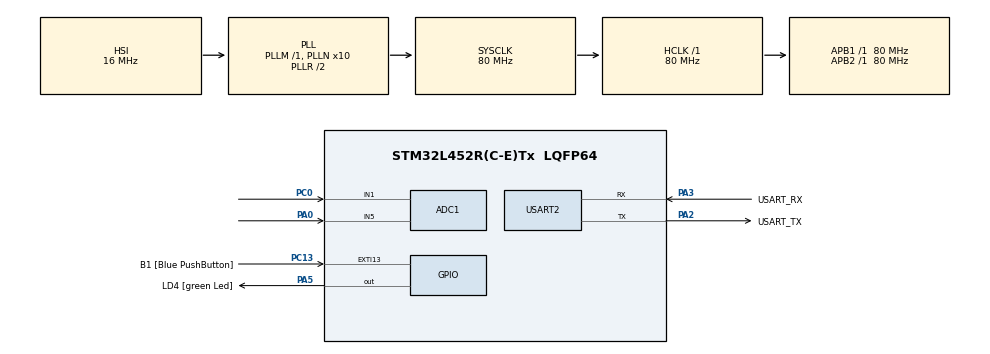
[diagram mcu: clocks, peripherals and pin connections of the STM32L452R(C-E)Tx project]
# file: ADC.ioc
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ADC1.Channel-0\#ChannelRegularConversion=ADC_CHANNEL_5
ADC1.ContinuousConvMode=DISABLE
ADC1.NbrOfConversion=1
ADC1.NbrOfConversionFlag=1
ADC1.OffsetNumber-0\#ChannelRegularConversion=ADC_OFFSET_NONE
ADC1.Rank-0\#ChannelRegularConversion=1
ADC1.SamplingTime-0\#ChannelRegularConversion=ADC_SAMPLETIME_2CYCLES_5
ADC1.master=1
Mcu.Family=STM32L4
Mcu.Name=STM32L452R(C-E)Tx
Mcu.Package=LQFP64
NVIC.PriorityGroup=NVIC_PRIORITYGROUP_4
PA0.Signal=ADCx_IN5
PA13\ (JTMS/SWDIO).GPIO_Label=TMS
PA13\ (JTMS/SWDIO).Mode=Serial_Wire
PA13\ (JTMS/SWDIO).Signal=SYS_JTMS-SWDIO
PA14\ (JTCK/SWCLK).GPIO_Label=TCK
PA14\ (JTCK/SWCLK).Mode=Serial_Wire
PA14\ (JTCK/SWCLK).Signal=SYS_JTCK-SWCLK
PA2.GPIO_Label=USART_TX
PA2.GPIO_Mode=GPIO_MODE_AF_PP
PA2.GPIO_PuPd=GPIO_NOPULL
PA2.GPIO_Speed=GPIO_SPEED_FREQ_VERY_HIGH
PA2.Mode=Asynchronous
PA2.Signal=USART2_TX
PA3.GPIO_Label=USART_RX
PA3.GPIO_Mode=GPIO_MODE_AF_PP
PA3.GPIO_PuPd=GPIO_NOPULL
PA3.GPIO_Speed=GPIO_SPEED_FREQ_VERY_HIGH
PA3.Mode=Asynchronous
PA3.Signal=USART2_RX
PA5.GPIO_Label=LD4 [green Led]
PA5.GPIO_ModeDefaultOutputPP=GPIO_MODE_OUTPUT_PP
PA5.GPIO_PuPd=GPIO_NOPULL
PA5.GPIO_Speed=GPIO_SPEED_FREQ_LOW
PA5.Signal=GPIO_Output
PB3\ (JTDO/TRACESWO).GPIO_Label=SWO
PB3\ (JTDO/TRACESWO).Signal=SYS_JTDO-SWO
PC0.Signal=ADCx_IN1
PC13.GPIO_Label=B1 [Blue PushButton]
PC13.GPIO_ModeDefaultEXTI=GPIO_MODE_IT_FALLING
PC13.GPIO_PuPd=GPIO_NOPULL
PC13.Signal=GPXTI13
PC14-OSC32_IN\ (PC14).Mode=LSE-External-Oscillator
PC14-OSC32_IN\ (PC14).Signal=RCC_OSC32_IN
PC15-OSC32_OUT\ (PC15).Mode=LSE-External-Oscillator
PC15-OSC32_OUT\ (PC15).Signal=RCC_OSC32_OUT
PH0-OSC_IN\ (PH0).Signal=RCC_OSC_IN
PH1-OSC_OUT\ (PH1).Signal=RCC_OSC_OUT
ProjectManager.HeapSize=0x200
ProjectManager.StackSize=0x400
ProjectManager.TargetToolchain=STM32CubeIDE
RCC.ADCFreq_Value=64000000
RCC.AHBFreq_Value=80000000
RCC.APB1Freq_Value=80000000
RCC.APB1TimFreq_Value=80000000
RCC.APB2Freq_Value=80000000
RCC.APB2TimFreq_Value=80000000
RCC.CortexFreq_Value=80000000
RCC.HCLKFreq_Value=80000000
RCC.HSE_VALUE=8000000
RCC.HSI48_VALUE=48000000
RCC.HSI_VALUE=16000000
RCC.MSI_VALUE=4000000
RCC.PLLN=10
RCC.PLLSourceVirtual=RCC_PLLSOURCE_HSI
RCC.PREFETCH_ENABLE=1
RCC.SYSCLKFreq_VALUE=80000000
RCC.SYSCLKSource=RCC_SYSCLKSOURCE_PLLCLK
RCC.USBFreq_Value=64000000
RCC.VCOOutputFreq_Value=160000000
SH.ADCx_IN1.0=ADC1_IN1,IN1-Single-Ended
SH.ADCx_IN5.0=ADC1_IN5,IN5-Single-Ended
USART2.VirtualMode-Asynchronous=VM_ASYNC
board=NUCLEO-L452RE

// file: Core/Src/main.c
/* USER CODE BEGIN Header */
/**
  ******************************************************************************
  * @file           : main.c
  * @brief          : Main program body
  ******************************************************************************
  * @attention
  *
  * Copyright (c) 2024 STMicroelectronics.
  * All rights reserved.
  *
  * This software is licensed under terms that can be found in the LICENSE file
  * in the root directory of this software component.
  * If no LICENSE file comes with this software, it is provided AS-IS.
  *
  ******************************************************************************
  */
/* USER CODE END Header */
#include "main.h"

/* USER CODE BEGIN Includes */
#include <stdio.h>
#include <string.h>
/* USER CODE END Includes */

ADC_HandleTypeDef hadc1;

UART_HandleTypeDef huart2;

void SystemClock_Config(void);
static void MX_GPIO_Init(void);
static void MX_USART2_UART_Init(void);
static void MX_ADC1_Init(void);

/* USER CODE BEGIN 0 */
uint16_t value1;
uint16_t value2;
uint16_t estado = 0;

char uart_msg[100];
void printValue(int value);
void print(char uart_buffer[]);

/* USER CODE END 0 */

int main(void)
{

  /* MCU Configuration--------------------------------------------------------*/

  /* Reset of all peripherals, Initializes the Flash interface and the Systick. */
  HAL_Init();

  /* Configure the system clock */
  SystemClock_Config();

  /* Initialize all configured peripherals */
  MX_GPIO_Init();
  MX_USART2_UART_Init();
  MX_ADC1_Init();
  /* USER CODE BEGIN 2 */
  HAL_ADC_Start(&hadc1);
  print("Inicialización");

  /* USER CODE END 2 */

  /* Infinite loop */
  /* USER CODE BEGIN WHILE */
  while (1)
  {
	  if(HAL_GPIO_ReadPin(B1_GPIO_Port, B1_Pin) == 1){
		  print("Canal 5");
		  ADC_Select_CH5();
		  HAL_ADC_Start(&hadc1);
		  HAL_ADC_PollForConversion(&hadc1, HAL_MAX_DELAY);
		  value1= HAL_ADC_GetValue(&hadc1);
		  printValue(value1);
		  HAL_ADC_Stop(&hadc1);
		  HAL_Delay(50);
	  }
	  else{
		  print("Canal 1");
		  ADC_Select_CH1();
		  HAL_ADC_Start(&hadc1);
		  HAL_ADC_PollForConversion(&hadc1, HAL_MAX_DELAY);
		  value2= HAL_ADC_GetValue(&hadc1);
		  printValue(value2);
		  HAL_ADC_Stop(&hadc1);
		  HAL_Delay(50);
	  }

    /* USER CODE END WHILE */

  }
}

void SystemClock_Config(void)
{
  RCC_OscInitTypeDef RCC_OscInitStruct = {0};
  RCC_ClkInitTypeDef RCC_ClkInitStruct = {0};

  /** Configure the main internal regulator output voltage
  */
  if (HAL_PWREx_ControlVoltageScaling(PWR_REGULATOR_VOLTAGE_SCALE1) != HAL_OK)
  {
    Error_Handler();
  }

  /** Initializes the RCC Oscillators according to the specified parameters
  * in the RCC_OscInitTypeDef structure.
  */
  RCC_OscInitStruct.OscillatorType = RCC_OSCILLATORTYPE_HSI;
  RCC_OscInitStruct.HSIState = RCC_HSI_ON;
  RCC_OscInitStruct.HSICalibrationValue = RCC_HSICALIBRATION_DEFAULT;
  RCC_OscInitStruct.PLL.PLLState = RCC_PLL_ON;
  RCC_OscInitStruct.PLL.PLLSource = RCC_PLLSOURCE_HSI;
  RCC_OscInitStruct.PLL.PLLM = 1;
  RCC_OscInitStruct.PLL.PLLN = 10;
  RCC_OscInitStruct.PLL.PLLP = RCC_PLLP_DIV7;
  RCC_OscInitStruct.PLL.PLLQ = RCC_PLLQ_DIV2;
  RCC_OscInitStruct.PLL.PLLR = RCC_PLLR_DIV2;
  if (HAL_RCC_OscConfig(&RCC_OscInitStruct) != HAL_OK)
  {
    Error_Handler();
  }

  /** Initializes the CPU, AHB and APB buses clocks
  */
  RCC_ClkInitStruct.ClockType = RCC_CLOCKTYPE_HCLK|RCC_CLOCKTYPE_SYSCLK
                              |RCC_CLOCKTYPE_PCLK1|RCC_CLOCKTYPE_PCLK2;
  RCC_ClkInitStruct.SYSCLKSource = RCC_SYSCLKSOURCE_PLLCLK;
  RCC_ClkInitStruct.AHBCLKDivider = RCC_SYSCLK_DIV1;
  RCC_ClkInitStruct.APB1CLKDivider = RCC_HCLK_DIV1;
  RCC_ClkInitStruct.APB2CLKDivider = RCC_HCLK_DIV1;

  if (HAL_RCC_ClockConfig(&RCC_ClkInitStruct, FLASH_LATENCY_4) != HAL_OK)
  {
    Error_Handler();
  }
}

static void MX_ADC1_Init(void)
{

  ADC_ChannelConfTypeDef sConfig = {0};

  /** Common config
  */
  hadc1.Instance = ADC1;
  hadc1.Init.ClockPrescaler = ADC_CLOCK_ASYNC_DIV1;
  hadc1.Init.Resolution = ADC_RESOLUTION_12B;
  hadc1.Init.DataAlign = ADC_DATAALIGN_RIGHT;
  hadc1.Init.ScanConvMode = ADC_SCAN_DISABLE;
  hadc1.Init.EOCSelection = ADC_EOC_SINGLE_CONV;
  hadc1.Init.LowPowerAutoWait = DISABLE;
  hadc1.Init.ContinuousConvMode = DISABLE;
  hadc1.Init.NbrOfConversion = 1;
  hadc1.Init.DiscontinuousConvMode = DISABLE;
  hadc1.Init.ExternalTrigConv = ADC_SOFTWARE_START;
  hadc1.Init.ExternalTrigConvEdge = ADC_EXTERNALTRIGCONVEDGE_NONE;
  hadc1.Init.DMAContinuousRequests = DISABLE;
  hadc1.Init.Overrun = ADC_OVR_DATA_PRESERVED;
  hadc1.Init.OversamplingMode = DISABLE;
  if (HAL_ADC_Init(&hadc1) != HAL_OK)
  {
    Error_Handler();
  }

  /** Configure Regular Channel
  */
  sConfig.Channel = ADC_CHANNEL_5;
  sConfig.Rank = ADC_REGULAR_RANK_1;
  sConfig.SamplingTime = ADC_SAMPLETIME_2CYCLES_5;
  sConfig.SingleDiff = ADC_SINGLE_ENDED;
  sConfig.OffsetNumber = ADC_OFFSET_NONE;
  sConfig.Offset = 0;
  if (HAL_ADC_ConfigChannel(&hadc1, &sConfig) != HAL_OK)
  {
    Error_Handler();
  }

}

static void MX_USART2_UART_Init(void)
{

  huart2.Instance = USART2;
  huart2.Init.BaudRate = 115200;
  huart2.Init.WordLength = UART_WORDLENGTH_8B;
  huart2.Init.StopBits = UART_STOPBITS_1;
  huart2.Init.Parity = UART_PARITY_NONE;
  huart2.Init.Mode = UART_MODE_TX_RX;
  huart2.Init.HwFlowCtl = UART_HWCONTROL_NONE;
  huart2.Init.OverSampling = UART_OVERSAMPLING_16;
  huart2.Init.OneBitSampling = UART_ONE_BIT_SAMPLE_DISABLE;
  huart2.AdvancedInit.AdvFeatureInit = UART_ADVFEATURE_NO_INIT;
  if (HAL_UART_Init(&huart2) != HAL_OK)
  {
    Error_Handler();
  }

}

static void MX_GPIO_Init(void)
{
  GPIO_InitTypeDef GPIO_InitStruct = {0};

  /* GPIO Ports Clock Enable */
  __HAL_RCC_GPIOC_CLK_ENABLE();
  __HAL_RCC_GPIOH_CLK_ENABLE();
  __HAL_RCC_GPIOA_CLK_ENABLE();
  __HAL_RCC_GPIOB_CLK_ENABLE();

  /*Configure GPIO pin Output Level */
  HAL_GPIO_WritePin(LD4_GPIO_Port, LD4_Pin, GPIO_PIN_RESET);

  /*Configure GPIO pin : B1_Pin */
  GPIO_InitStruct.Pin = B1_Pin;
  GPIO_InitStruct.Mode = GPIO_MODE_IT_FALLING;
  GPIO_InitStruct.Pull = GPIO_NOPULL;
  HAL_GPIO_Init(B1_GPIO_Port, &GPIO_InitStruct);

  /*Configure GPIO pin : LD4_Pin */
  GPIO_InitStruct.Pin = LD4_Pin;
  GPIO_InitStruct.Mode = GPIO_MODE_OUTPUT_PP;
  GPIO_InitStruct.Pull = GPIO_NOPULL;
  GPIO_InitStruct.Speed = GPIO_SPEED_FREQ_LOW;
  HAL_GPIO_Init(LD4_GPIO_Port, &GPIO_InitStruct);

}

/* USER CODE BEGIN 4 */

void print(char uart_buffer[]){
	sprintf(uart_msg, "%s: ", uart_buffer);
	HAL_UART_Transmit(&huart2,(uint8_t*)uart_msg,strlen(uart_msg),HAL_MAX_DELAY);

}

void printValue(int value){
	sprintf(uart_msg, "%hu \n\r", value);
	HAL_UART_Transmit(&huart2,(uint8_t*)uart_msg,strlen(uart_msg),HAL_MAX_DELAY);

}

void ADC_Select_CH5 (void)
{
	ADC_ChannelConfTypeDef sConfig = {0};
	  /** Configure for the selected ADC regular channel its corresponding rank in the sequencer and its sample time.
	  */
	  sConfig.Channel = ADC_CHANNEL_5;
	  sConfig.Rank = ADC_REGULAR_RANK_1;
	  sConfig.SamplingTime = ADC_SAMPLETIME_2CYCLES_5;
	  sConfig.SingleDiff = ADC_SINGLE_ENDED;
	  sConfig.OffsetNumber = ADC_OFFSET_NONE;
	  sConfig.Offset = 0;
	  if (HAL_ADC_ConfigChannel(&hadc1, &sConfig) != HAL_OK)
	  {
	    Error_Handler();
	  }
}

void ADC_Select_CH1 (void)
{
	ADC_ChannelConfTypeDef sConfig = {0};
	  /** Configure for the selected ADC regular channel its corresponding rank in the sequencer and its sample time.
	  */
	  sConfig.Channel = ADC_CHANNEL_1;
	  sConfig.Rank = ADC_REGULAR_RANK_1;
	  sConfig.SamplingTime = ADC_SAMPLETIME_2CYCLES_5;
	  sConfig.SingleDiff = ADC_SINGLE_ENDED;
	  sConfig.OffsetNumber = ADC_OFFSET_NONE;
	  sConfig.Offset = 0;
	  if (HAL_ADC_ConfigChannel(&hadc1, &sConfig) != HAL_OK)
	  {
	    Error_Handler();
	  }
}

/* USER CODE END 4 */

void Error_Handler(void)
{
  __disable_irq();
  while (1)
  {
  }
}
